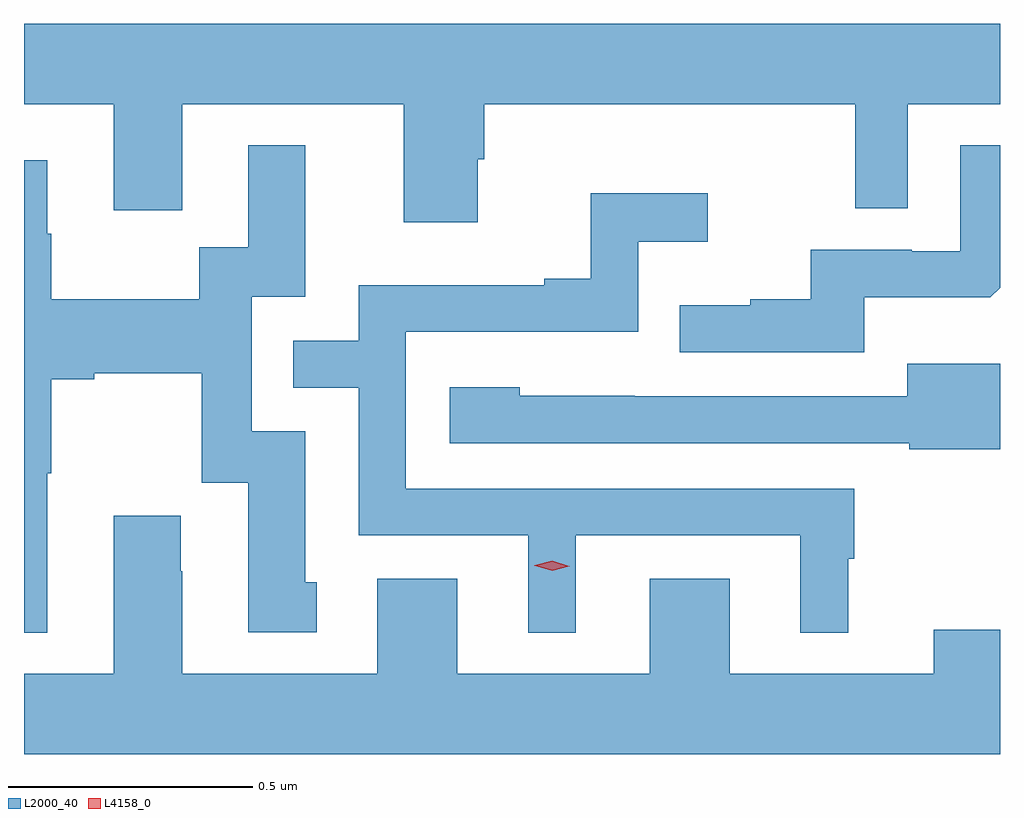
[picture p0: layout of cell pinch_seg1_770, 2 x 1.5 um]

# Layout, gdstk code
import gdstk
lib = gdstk.Library(unit=1e-6, precision=1e-09)
def P(c, l, *ps):  # polygons
    for p in ps: c.add(gdstk.Polygon(p, *l))
L2000_40 = (2000, 40)
L4158_0 = (4158, 0)

pinch_seg1_770 = lib.new_cell('pinch_seg1_770')
P(pinch_seg1_770, L2000_40, [(829.123,542.295),(829.136,542.295),(829.136,542.408),(829.896,542.408),(829.896,542.194),(830.004,542.194),(830.004,542.408),(830.193,542.408),(830.193,542.572),(828.193,542.572),(828.193,542.408),(828.377,542.408),(828.377,542.19),(828.517,542.19),(828.517,542.408),(828.971,542.408),(828.971,542.166),(829.123,542.166)],
  [(828.241,541.651),(828.249,541.651),(828.249,541.844),(828.337,541.844),(828.337,541.856),(828.557,541.856),(828.557,541.632),(828.653,541.632),(828.653,541.326),(828.793,541.326),(828.793,541.428),(828.769,541.428),(828.769,541.737),(828.66,541.737),(828.66,542.013),(828.769,542.013),(828.769,542.323),(828.653,542.323),(828.653,542.114),(828.552,542.114),(828.552,542.008),(828.249,542.008),(828.249,542.142),(828.241,542.142),(828.241,542.293),(828.193,542.293),(828.193,541.325),(828.241,541.325)],
  [(829.915,542.012),(830.173,542.012),(830.193,542.031),(830.193,542.323),(830.112,542.323),(830.112,542.106),(830.012,542.106),(830.012,542.109),(829.805,542.109),(829.805,542.008),(829.681,542.008),(829.681,541.996),(829.537,541.996),(829.537,541.899),(829.915,541.899)],
  [(829.324,541.524),(829.784,541.524),(829.784,541.325),(829.882,541.325),(829.882,541.476),(829.894,541.476),(829.894,541.62),(828.975,541.62),(828.975,541.941),(829.452,541.941),(829.452,542.126),(829.594,542.126),(829.594,542.225),(829.354,542.225),(829.354,542.05),(829.259,542.05),(829.259,542.037),(828.879,542.037),(828.879,541.923),(828.745,541.923),(828.745,541.827),(828.879,541.827),(828.879,541.524),(829.226,541.524),(829.226,541.325),(829.324,541.325)],
  [(830.193,541.876),(830.003,541.876),(830.003,541.809),(829.445,541.809),(829.445,541.81),(829.209,541.81),(829.209,541.828),(829.065,541.828),(829.065,541.713),(830.007,541.713),(830.007,541.701),(830.193,541.701)],
  [(830.193,541.331),(830.057,541.331),(830.057,541.24),(829.639,541.24),(829.639,541.435),(829.475,541.435),(829.475,541.24),(829.081,541.24),(829.081,541.435),(828.917,541.435),(828.917,541.24),(828.517,541.24),(828.517,541.451),(828.514,541.451),(828.514,541.564),(828.377,541.564),(828.377,541.24),(828.193,541.24),(828.193,541.076),(830.193,541.076)])
P(pinch_seg1_770, L4158_0, [(829.275,541.452),(829.24,541.462),(829.239,541.462),(829.24,541.463),(829.275,541.472),(829.31,541.461),(829.311,541.461),(829.31,541.461)])

lib.write_gds('pinch_seg1_770.gds')
